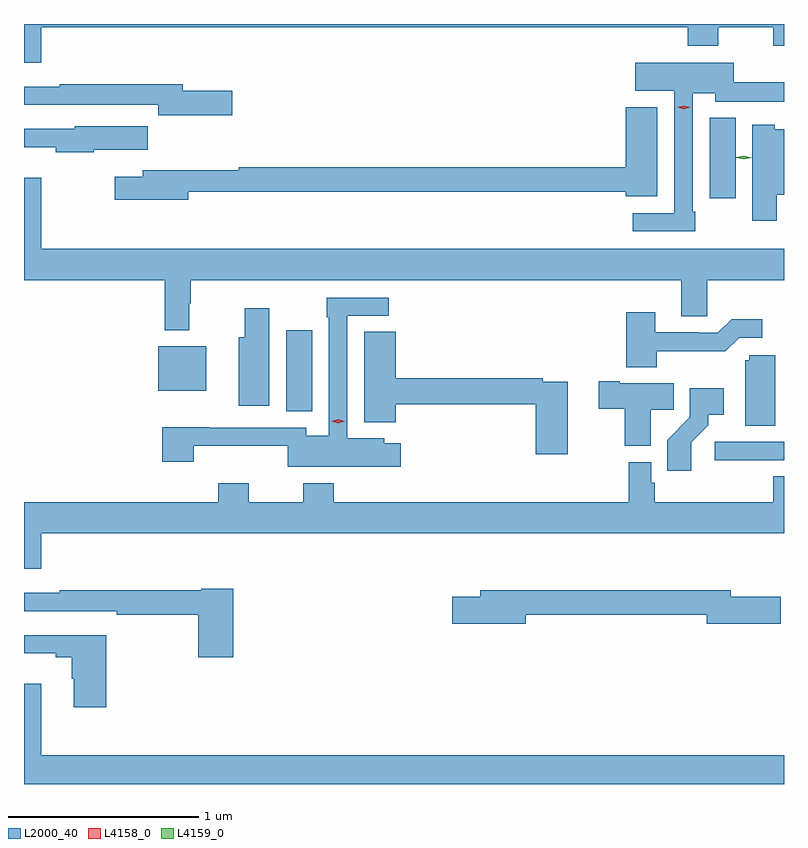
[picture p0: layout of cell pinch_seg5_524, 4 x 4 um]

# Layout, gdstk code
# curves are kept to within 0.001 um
import gdstk
lib = gdstk.Library(unit=1e-6, precision=1e-09)
def R(c, l, rs):  # rectangles x0, y0, x1, y1
    for r in rs: c.add(gdstk.rectangle(r[:2], r[2:], *l))
def P(c, l, *ps):  # polygons
    for p in ps: c.add(gdstk.Polygon(p, *l))
L2000_40 = (2000, 40)
L4158_0 = (4158, 0)
L4159_0 = (4159, 0)

pinch_seg5_524 = lib.new_cell('pinch_seg5_524')
R(pinch_seg5_524, L2000_40, [(885.74,841.417,885.877,841.843), (885.068,841.526,885.319,841.759), (887.969,842.538,888.106,842.963)])
P(pinch_seg5_524, L2000_40, [(884.452,843.44),(887.855,843.44),(887.855,843.341),(888.015,843.341),(888.015,843.44),(888.304,843.44),(888.304,843.341),(888.361,843.341),(888.361,843.456),(884.361,843.456),(884.361,843.252),(884.452,843.252)],
  [(887.893,842.467),(887.88,842.467),(887.88,843.092),(888,843.092),(888,843.048),(888.361,843.048),(888.361,843.149),(888.096,843.149),(888.096,843.253),(887.577,843.253),(887.577,843.104),(887.784,843.104),(887.784,842.46),(887.565,842.46),(887.565,842.364),(887.893,842.364)],
  [(885.457,843.105),(885.196,843.105),(885.196,843.139),(884.548,843.139),(884.548,843.126),(884.361,843.126),(884.361,843.03),(885.068,843.03),(885.068,842.975),(885.457,842.975)],
  [(885.226,842.574),(887.528,842.574),(887.528,842.549),(887.695,842.549),(887.695,843.019),(887.528,843.019),(887.528,842.702),(885.491,842.702),(885.491,842.687),(884.987,842.687),(884.987,842.653),(884.838,842.653),(884.838,842.531),(885.226,842.531)],
  [(888.324,842.558),(888.361,842.558),(888.361,842.902),(888.312,842.902),(888.312,842.926),(888.194,842.926),(888.194,842.421),(888.324,842.421)],
  [(884.728,842.795),(885.011,842.795),(885.011,842.917),(884.628,842.917),(884.628,842.904),(884.361,842.904),(884.361,842.807),(884.528,842.807),(884.528,842.78),(884.728,842.78)],
  [(885.232,841.985),(885.239,841.985),(885.239,842.108),(887.819,842.108),(887.819,841.918),(887.958,841.918),(887.958,842.108),(888.361,842.108),(888.361,842.272),(884.452,842.272),(884.452,842.647),(884.361,842.647),(884.361,842.108),(885.103,842.108),(885.103,841.845),(885.232,841.845)],
  [(886.345,841.249),(886.257,841.249),(886.257,841.276),(886.062,841.276),(886.062,841.92),(886.282,841.92),(886.282,842.016),(885.954,842.016),(885.954,841.913),(885.966,841.913),(885.966,841.288),(885.846,841.288),(885.846,841.332),(885.337,841.332),(885.337,841.334),(885.089,841.334),(885.089,841.152),(885.254,841.152),(885.254,841.235),(885.75,841.235),(885.75,841.127),(886.345,841.127)],
  [(885.652,841.96),(885.523,841.96),(885.523,841.807),(885.491,841.807),(885.491,841.446),(885.652,841.446)],
  [(887.691,841.734),(888.053,841.733),(888.126,841.806),(888.247,841.806),(888.247,841.903),(888.085,841.903),(888.012,841.83),(887.912,841.83),(887.912,841.833),(887.683,841.833),(887.683,841.939),(887.531,841.939),(887.531,841.649),(887.691,841.649)],
  [(887.224,841.572),(887.09,841.572),(887.09,841.592),(886.318,841.592),(886.318,841.835),(886.151,841.835),(886.151,841.361),(886.318,841.361),(886.318,841.456),(887.054,841.456),(887.054,841.191),(887.224,841.191)],
  [(888.316,841.713),(888.177,841.713),(888.177,841.686),(888.158,841.686),(888.158,841.342),(888.316,841.342)],
  [(887.659,841.426),(887.78,841.426),(887.78,841.564),(887.497,841.564),(887.497,841.576),(887.385,841.576),(887.385,841.43),(887.522,841.43),(887.522,841.235),(887.659,841.235)],
  [(887.872,841.255),(887.962,841.345),(887.962,841.4),(888.043,841.4),(888.043,841.54),(887.865,841.54),(887.865,841.385),(887.746,841.266),(887.746,841.104),(887.872,841.104)],
  [(888.221,841.161),(888.361,841.161),(888.361,841.257),(887.997,841.257),(887.997,841.159),(888.221,841.159)],
  [(884.452,840.776),(888.361,840.776),(888.361,841.076),(888.305,841.076),(888.305,840.94),(887.681,840.94),(887.681,841.041),(887.661,841.041),(887.661,841.15),(887.545,841.15),(887.545,840.94),(885.992,840.94),(885.992,841.039),(885.832,841.039),(885.832,840.94),(885.543,840.94),(885.543,841.039),(885.383,841.039),(885.383,840.94),(884.361,840.94),(884.361,840.588),(884.452,840.588)],
  [(885.461,840.483),(885.294,840.483),(885.294,840.475),(884.548,840.475),(884.548,840.462),(884.361,840.462),(884.361,840.366),(884.848,840.366),(884.848,840.346),(885.278,840.346),(885.278,840.123),(885.461,840.123)],
  [(887.002,840.346),(887.954,840.346),(887.954,840.299),(888.343,840.299),(888.343,840.441),(888.082,840.441),(888.082,840.475),(886.763,840.475),(886.763,840.441),(886.614,840.441),(886.614,840.299),(887.002,840.299)],
  [(884.795,840.24),(884.361,840.24),(884.361,840.143),(884.528,840.143),(884.528,840.124),(884.612,840.124),(884.612,840.009),(884.624,840.009),(884.624,839.859),(884.795,839.859)],
  [(884.452,839.983),(884.361,839.983),(884.361,839.456),(888.361,839.456),(888.361,839.608),(884.452,839.608)])
P(pinch_seg5_524, L4158_0, [(887.833,843.007),(887.798,843.017),(887.798,843.017),(887.798,843.018),(887.833,843.027),(887.868,843.018),(887.868,843.017),(887.868,843.017)],
  [(886.014,841.355),(885.979,841.366),(885.979,841.366),(885.979,841.366),(886.014,841.375),(886.048,841.365),(886.049,841.365),(886.048,841.364)])
P(pinch_seg5_524, L4159_0, [(888.149,842.743),(888.109,842.753),(888.109,842.754),(888.109,842.754),(888.15,842.763),(888.19,842.753),(888.19,842.753),(888.19,842.752)])

lib.write_gds('pinch_seg5_524.gds')
